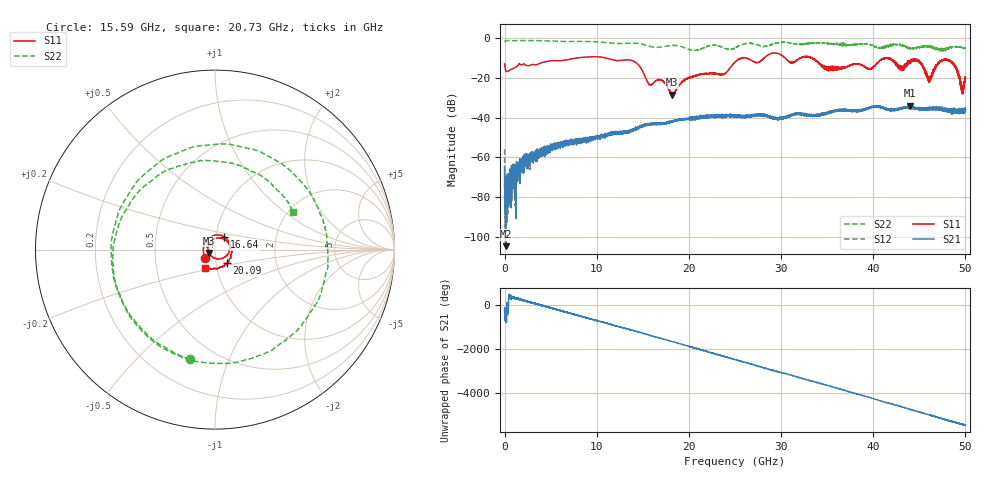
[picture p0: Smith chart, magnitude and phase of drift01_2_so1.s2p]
!Created with skrf (http://scikit-rf.org).
# Hz S RI R 50.0
!freq ReS11 ImS11 ReS21 ImS21 ReS12 ImS12 ReS22 ImS22
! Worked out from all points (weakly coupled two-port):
!   10001 points, 300 kHz to 50 GHz, reference 50 ohm
!   highest |S21| = -34.02 dB at 44.03 GHz (marker M1); lowest = -104.5 dB at 110.3 MHz (marker M2)
!   lowest |S11| = -28.5 dB at 18.17 GHz (marker M3), VSWR 1.08, Z = 46.8 - j1.83 ohm
!   |S11| at or under -10 dB: 10.84 GHz to 25.96 GHz (15.13 GHz wide, 82.2 % of centre); 33.25 GHz to 41.4 GHz (8.153 GHz wide, 21.8 % of centre); 41.62 GHz to end of sweep (the widest 3 of 14)
!   |S22| runs from -6.8 to -1.4 dB; largest |S21 - S12| = 0.0044
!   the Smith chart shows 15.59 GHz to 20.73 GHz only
!   S11 on the Smith chart (normalised r, x): 15.59 GHz: 0.89, -0.08; 16.64 GHz: 1.10, +0.16; 20.09 GHz: 1.13, -0.17; 20.73 GHz: 0.87, -0.18
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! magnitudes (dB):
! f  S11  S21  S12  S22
! 300 kHz  -13.1  -65.0  -55.9  -2.1
! 110.3 MHz  -16.4  -104.5  -73.7  -1.5
! 295.3 MHz  -16.9  -75.6  -77.5  -1.4
! 3.29 GHz  -13.6  -58.3  -57.3  -1.5
! 8.335 GHz  -9.9  -50.8  -51.9  -1.8
! 13.87 GHz  -11.5  -46.6  -46.5  -2.7
! 15.59 GHz  -22.8  -43.3  -43.0  -4.1
! 16.64 GHz  -21.1  -43.2  -43.2  -4.8
! 16.67 GHz  -21.0  -43.4  -43.0  -4.8
! 18.17 GHz  -28.5  -41.8  -41.8  -3.9
! 20.09 GHz  -20.0  -40.1  -41.0  -6.0
! 20.73 GHz  -18.7  -39.7  -40.1  -6.3
! 25 GHz  -12.2  -39.5  -39.3  -5.2
! 33.34 GHz  -10.2  -38.8  -38.9  -2.7
! 35.23 GHz  -14.9  -37.9  -37.5  -3.0
! 41.67 GHz  -10.5  -35.6  -36.2  -4.6
! 43.06 GHz  -14.9  -35.6  -35.2  -3.5
! 44.03 GHz  -11.4  -34.0  -34.8  -5.5
! 46.11 GHz  -21.8  -35.7  -35.3  -4.6
! 48.11 GHz  -11.1  -36.0  -36.5  -5.0
! 49.64 GHz  -24.0  -35.8  -36.6  -4.8
! 50 GHz  -20.3  -36.2  -36.4  -5.5
